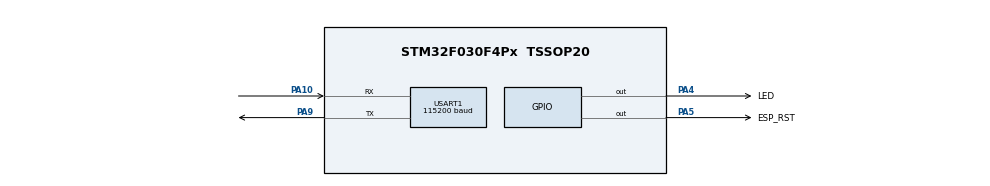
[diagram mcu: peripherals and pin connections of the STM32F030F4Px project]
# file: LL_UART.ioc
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Mcu.Family=STM32F0
Mcu.Name=STM32F030F4Px
Mcu.Package=TSSOP20
NVIC.USART1_IRQn=true\:1\:0\:true\:true\:true\:1\:true
PA10.Mode=Asynchronous
PA10.Signal=USART1_RX
PA13.Mode=Serial_Wire
PA13.Signal=SYS_SWDIO
PA14.Mode=Serial_Wire
PA14.Signal=SYS_SWCLK
PA4.GPIO_Label=LED
PA4.Signal=GPIO_Output
PA5.GPIO_Label=ESP_RST
PA5.GPIO_Speed=GPIO_SPEED_FREQ_HIGH
PA5.PinState=GPIO_PIN_SET
PA5.Signal=GPIO_Output
PA9.Mode=Asynchronous
PA9.Signal=USART1_TX
PF0-OSC_IN.Mode=HSE-External-Oscillator
PF0-OSC_IN.Signal=RCC_OSC_IN
PF1-OSC_OUT.Mode=HSE-External-Oscillator
PF1-OSC_OUT.Signal=RCC_OSC_OUT
ProjectManager.HeapSize=0x200
ProjectManager.StackSize=0x400
ProjectManager.TargetToolchain=MDK-ARM V5
RCC.AHBFreq_Value=48000000
RCC.APB1Freq_Value=48000000
RCC.APB1TimFreq_Value=48000000
RCC.HCLKFreq_Value=48000000
RCC.PLLMUL=RCC_PLL_MUL12
RCC.SYSCLKFreq_VALUE=48000000
RCC.SYSCLKSource=RCC_SYSCLKSOURCE_PLLCLK
USART1.BaudRate=115200
USART1.VirtualMode-Asynchronous=VM_ASYNC
board=LL_UART

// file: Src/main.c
/**
  ******************************************************************************
  * @file           : main.c
  * @brief          : Main program body
  ******************************************************************************
  ** This notice applies to any and all portions of this file
  * that are not between comment pairs USER CODE BEGIN and
  * USER CODE END. Other portions of this file, whether
  * inserted by the user or by software development tools
  * are owned by their respective copyright owners.
  *
  * COPYRIGHT(c) 2018 STMicroelectronics
  *
  * Redistribution and use in source and binary forms, with or without modification,
  * are permitted provided that the following conditions are met:
  *   1. Redistributions of source code must retain the above copyright notice,
  *      this list of conditions and the following disclaimer.
  *   2. Redistributions in binary form must reproduce the above copyright notice,
  *      this list of conditions and the following disclaimer in the documentation
  *      and/or other materials provided with the distribution.
  *   3. Neither the name of STMicroelectronics nor the names of its contributors
  *      may be used to endorse or promote products derived from this software
  *      without specific prior written permission.
  *
  * THIS SOFTWARE IS PROVIDED BY THE COPYRIGHT HOLDERS AND CONTRIBUTORS "AS IS"
  * AND ANY EXPRESS OR IMPLIED WARRANTIES, INCLUDING, BUT NOT LIMITED TO, THE
  * IMPLIED WARRANTIES OF MERCHANTABILITY AND FITNESS FOR A PARTICULAR PURPOSE ARE
  * DISCLAIMED. IN NO EVENT SHALL THE COPYRIGHT HOLDER OR CONTRIBUTORS BE LIABLE
  * FOR ANY DIRECT, INDIRECT, INCIDENTAL, SPECIAL, EXEMPLARY, OR CONSEQUENTIAL
  * DAMAGES (INCLUDING, BUT NOT LIMITED TO, PROCUREMENT OF SUBSTITUTE GOODS OR
  * SERVICES; LOSS OF USE, DATA, OR PROFITS; OR BUSINESS INTERRUPTION) HOWEVER
  * CAUSED AND ON ANY THEORY OF LIABILITY, WHETHER IN CONTRACT, STRICT LIABILITY,
  * OR TORT (INCLUDING NEGLIGENCE OR OTHERWISE) ARISING IN ANY WAY OUT OF THE USE
  * OF THIS SOFTWARE, EVEN IF ADVISED OF THE POSSIBILITY OF SUCH DAMAGE.
  *
  ******************************************************************************
  */
#include "main.h"

/* USER CODE BEGIN Includes */
#include "string.h"
/* USER CODE END Includes */

/* USER CODE BEGIN PV */
/* Private variables ---------------------------------------------------------*/
typedef struct
{
uint8_t UART_RxBuff[256];
uint8_t UART_RxBuff_index;
uint8_t UART_Frame_Flag;
}ESP_RX_TypeDef;

ESP_RX_TypeDef ESP_RX;

#define AP_SSID                       "lebment"              //Ҫ���ӵ��ȵ������
#define AP_Password                   "18162327063"           //Ҫ���ӵ��ȵ����Կ
/* USER CODE END PV */

static void LL_Init(void);
void SystemClock_Config(void);
static void MX_GPIO_Init(void);
static void MX_USART1_UART_Init(void);
static void MX_NVIC_Init(void);

/* USER CODE BEGIN PFP */
/* Private function prototypes -----------------------------------------------*/
void USART_Print(unsigned char *Send_Text,uint32_t Size_Text);
uint8_t checkOK(void);
/* USER CODE END PFP */

int main(void)
{

  /* MCU Configuration----------------------------------------------------------*/

  /* Reset of all peripherals, Initializes the Flash interface and the Systick. */
  LL_Init();

  /* Configure the system clock */
  SystemClock_Config();

  /* Initialize all configured peripherals */
  MX_GPIO_Init();
  MX_USART1_UART_Init();

  /* Initialize interrupts */
  MX_NVIC_Init();
  /* USER CODE BEGIN 2 */
  LL_GPIO_SetOutputPin(GPIOA,LL_GPIO_PIN_5);
  LL_mDelay(500);
  LL_GPIO_ResetOutputPin(GPIOA,LL_GPIO_PIN_5);
  LL_mDelay(500);
  LL_GPIO_SetOutputPin(GPIOA,LL_GPIO_PIN_5);
  LL_mDelay(500);

  LL_USART_EnableIT_RXNE(USART1);
  LL_USART_EnableIT_IDLE(USART1);

  USART_Print("AT\r\n",(uint32_t) sizeof("AT\r\n") );
  LL_mDelay(1000);

  if( checkOK()==1  )
  {

   USART_Print("AT+RST\r\n",(uint32_t) sizeof("AT+RST\r\n") );
   LL_mDelay(1000);

  USART_Print("AT+CWJAP=\"lebment\",\"18162327063\"",(uint32_t)sizeof("AT+CWJAP=\"lebment\",\"18162327063\"") );
   LL_mDelay(1000);

     if( checkOK()==1  )
     {
       LL_GPIO_TogglePin(LED_GPIO_Port, LED_Pin);
       LL_mDelay(50);
       LL_GPIO_TogglePin(LED_GPIO_Port, LED_Pin);
       LL_mDelay(50);
       LL_GPIO_TogglePin(LED_GPIO_Port, LED_Pin);
       LL_mDelay(50);
       LL_GPIO_TogglePin(LED_GPIO_Port, LED_Pin);
       LL_mDelay(50);
       LL_GPIO_TogglePin(LED_GPIO_Port, LED_Pin);
       LL_mDelay(50);
       LL_GPIO_TogglePin(LED_GPIO_Port, LED_Pin);
       LL_mDelay(50);
       LL_GPIO_TogglePin(LED_GPIO_Port, LED_Pin);
       LL_mDelay(50);
     }

  }

  /* USER CODE END 2 */

  /* Infinite loop */
  while (1)
  {

  }

}

static void LL_Init(void)
{

  LL_APB1_GRP2_EnableClock(LL_APB1_GRP2_PERIPH_SYSCFG);

  /* System interrupt init*/
  /* SVC_IRQn interrupt configuration */
  NVIC_SetPriority(SVC_IRQn, 0);
  /* PendSV_IRQn interrupt configuration */
  NVIC_SetPriority(PendSV_IRQn, 0);
  /* SysTick_IRQn interrupt configuration */
  NVIC_SetPriority(SysTick_IRQn, 0);

}

void SystemClock_Config(void)
{

  LL_FLASH_SetLatency(LL_FLASH_LATENCY_1);

  if(LL_FLASH_GetLatency() != LL_FLASH_LATENCY_1)
  {
  Error_Handler();
  }
  LL_RCC_HSI_Enable();

   /* Wait till HSI is ready */
  while(LL_RCC_HSI_IsReady() != 1)
  {

  }
  LL_RCC_HSI_SetCalibTrimming(16);

  LL_RCC_PLL_ConfigDomain_SYS(LL_RCC_PLLSOURCE_HSI_DIV_2, LL_RCC_PLL_MUL_12);

  LL_RCC_PLL_Enable();

   /* Wait till PLL is ready */
  while(LL_RCC_PLL_IsReady() != 1)
  {

  }
  LL_RCC_SetAHBPrescaler(LL_RCC_SYSCLK_DIV_1);

  LL_RCC_SetAPB1Prescaler(LL_RCC_APB1_DIV_1);

  LL_RCC_SetSysClkSource(LL_RCC_SYS_CLKSOURCE_PLL);

   /* Wait till System clock is ready */
  while(LL_RCC_GetSysClkSource() != LL_RCC_SYS_CLKSOURCE_STATUS_PLL)
  {

  }
  LL_Init1msTick(48000000);

  LL_SYSTICK_SetClkSource(LL_SYSTICK_CLKSOURCE_HCLK);

  LL_SetSystemCoreClock(48000000);

  LL_RCC_SetUSARTClockSource(LL_RCC_USART1_CLKSOURCE_PCLK1);

  /* SysTick_IRQn interrupt configuration */
  NVIC_SetPriority(SysTick_IRQn, 0);
}

/**
  * @brief NVIC Configuration.
  * @retval None
  */
static void MX_NVIC_Init(void)
{
  /* USART1_IRQn interrupt configuration */
  NVIC_SetPriority(USART1_IRQn, 1);
  NVIC_EnableIRQ(USART1_IRQn);
}

/* USART1 init function */
static void MX_USART1_UART_Init(void)
{

  LL_USART_InitTypeDef USART_InitStruct;

  LL_GPIO_InitTypeDef GPIO_InitStruct;

  /* Peripheral clock enable */
  LL_APB1_GRP2_EnableClock(LL_APB1_GRP2_PERIPH_USART1);

  /**USART1 GPIO Configuration
  PA9   ------> USART1_TX
  PA10   ------> USART1_RX
  */
  GPIO_InitStruct.Pin = LL_GPIO_PIN_9;
  GPIO_InitStruct.Mode = LL_GPIO_MODE_ALTERNATE;
  GPIO_InitStruct.Speed = LL_GPIO_SPEED_FREQ_HIGH;
  GPIO_InitStruct.OutputType = LL_GPIO_OUTPUT_PUSHPULL;
  GPIO_InitStruct.Pull = LL_GPIO_PULL_NO;
  GPIO_InitStruct.Alternate = LL_GPIO_AF_1;
  LL_GPIO_Init(GPIOA, &GPIO_InitStruct);

  GPIO_InitStruct.Pin = LL_GPIO_PIN_10;
  GPIO_InitStruct.Mode = LL_GPIO_MODE_ALTERNATE;
  GPIO_InitStruct.Speed = LL_GPIO_SPEED_FREQ_HIGH;
  GPIO_InitStruct.OutputType = LL_GPIO_OUTPUT_PUSHPULL;
  GPIO_InitStruct.Pull = LL_GPIO_PULL_NO;
  GPIO_InitStruct.Alternate = LL_GPIO_AF_1;
  LL_GPIO_Init(GPIOA, &GPIO_InitStruct);

  USART_InitStruct.BaudRate = 115200;
  USART_InitStruct.DataWidth = LL_USART_DATAWIDTH_8B;
  USART_InitStruct.StopBits = LL_USART_STOPBITS_1;
  USART_InitStruct.Parity = LL_USART_PARITY_NONE;
  USART_InitStruct.TransferDirection = LL_USART_DIRECTION_TX_RX;
  USART_InitStruct.HardwareFlowControl = LL_USART_HWCONTROL_NONE;
  USART_InitStruct.OverSampling = LL_USART_OVERSAMPLING_16;
  LL_USART_Init(USART1, &USART_InitStruct);

  LL_USART_DisableIT_CTS(USART1);

  LL_USART_DisableOverrunDetect(USART1);

  LL_USART_ConfigAsyncMode(USART1);

  LL_USART_Enable(USART1);

}

/** Configure pins as
        * Analog
        * Input
        * Output
        * EVENT_OUT
        * EXTI
*/
static void MX_GPIO_Init(void)
{

  LL_GPIO_InitTypeDef GPIO_InitStruct;

  /* GPIO Ports Clock Enable */
  LL_AHB1_GRP1_EnableClock(LL_AHB1_GRP1_PERIPH_GPIOF);
  LL_AHB1_GRP1_EnableClock(LL_AHB1_GRP1_PERIPH_GPIOA);

  /**/
  LL_GPIO_ResetOutputPin(LED_GPIO_Port, LED_Pin);

  /**/
  LL_GPIO_SetOutputPin(ESP_RST_GPIO_Port, ESP_RST_Pin);

  /**/
  GPIO_InitStruct.Pin = LED_Pin;
  GPIO_InitStruct.Mode = LL_GPIO_MODE_OUTPUT;
  GPIO_InitStruct.Speed = LL_GPIO_SPEED_FREQ_LOW;
  GPIO_InitStruct.OutputType = LL_GPIO_OUTPUT_PUSHPULL;
  GPIO_InitStruct.Pull = LL_GPIO_PULL_NO;
  LL_GPIO_Init(LED_GPIO_Port, &GPIO_InitStruct);

  /**/
  GPIO_InitStruct.Pin = ESP_RST_Pin;
  GPIO_InitStruct.Mode = LL_GPIO_MODE_OUTPUT;
  GPIO_InitStruct.Speed = LL_GPIO_SPEED_FREQ_HIGH;
  GPIO_InitStruct.OutputType = LL_GPIO_OUTPUT_PUSHPULL;
  GPIO_InitStruct.Pull = LL_GPIO_PULL_NO;
  LL_GPIO_Init(ESP_RST_GPIO_Port, &GPIO_InitStruct);

}

/* USER CODE BEGIN 4 */
uint8_t checkOK(void)
{
 const char * P;
 uint8_t Check_Flag=0;

 P=(const char *)ESP_RX.UART_RxBuff;

  if(ESP_RX.UART_Frame_Flag==1)
  {
    ESP_RX.UART_Frame_Flag=0;
     if( strstr( P,"OK") )
       Check_Flag=1;

     else
       Check_Flag=0;
   }

	memset(ESP_RX.UART_RxBuff,0,ESP_RX.UART_RxBuff_index);

  ESP_RX.UART_RxBuff_index=0;
    return Check_Flag;
}

void USART_Print(unsigned char *Send_Text,uint32_t Size_Text)
{

  uint32_t index = 0;

  for (index = 0; index < Size_Text; index++)
  {
    while (!LL_USART_IsActiveFlag_TXE(USART1));
     LL_USART_TransmitData8(USART1,Send_Text[index]);
  }

  while (!LL_USART_IsActiveFlag_TC(USART1));
}

void USART_Reception_Callback(void)
{
  ESP_RX.UART_RxBuff[ESP_RX.UART_RxBuff_index++] = LL_USART_ReceiveData8(USART1);
}

void USART_Idle_Callback(void)
{
  ESP_RX.UART_Frame_Flag=1;
  LL_USART_ClearFlag_IDLE(USART1);
}

/* USER CODE END 4 */

void _Error_Handler(char *file, int line)
{
  while(1)
  {
  }
}

/************************ (C) COPYRIGHT STMicroelectronics *****END OF FILE****/
